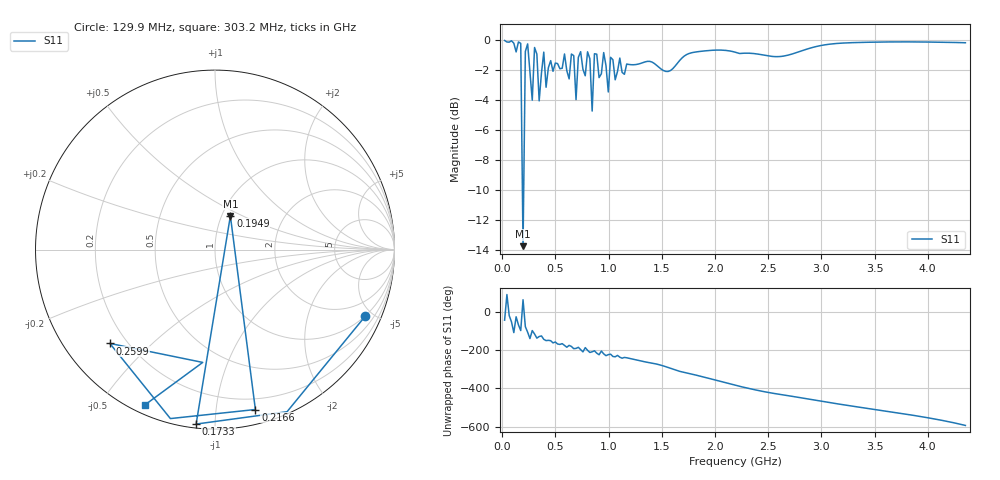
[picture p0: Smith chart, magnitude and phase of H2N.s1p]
!Keysight Technologies N9923A: A.08.19
!Date: Thursday, 16 January 2020 11:30:00
!TimeZone: (GMT-03:00) Brasilia!Model: N9923A
!Serial: MY51491501
!GPS Latitude:
!GPS Longitude:
!GPS TimeStamp: 0001-01-01 00:00:00Z
!GPS Seconds Since Last Read: 0
!CHECKSUM:1078980270
!Correction: S11(ON U)
!S1P File: Measurement: S11:
# Hz S DB R 50
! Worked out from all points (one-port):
!   201 points, 21.66 MHz to 4.353 GHz, reference 50 ohm
!   lowest |S11| = -13.7 dB at 194.9 MHz (marker M1), VSWR 1.52, Z = 55 + j21.5 ohm
!   |S11| at or under -10 dB: 189 MHz to 201.1 MHz (12.14 MHz wide, 6.23 % of centre)
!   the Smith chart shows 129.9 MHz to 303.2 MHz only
!   S11 on the Smith chart (normalised r, x): 129.9 MHz: 0.98, -4.52; 173.3 MHz: 0.02, -0.90; 194.9 MHz: 1.10, +0.43; 216.6 MHz: 0.11, -1.28; 259.9 MHz: 0.14, -0.37; 303.2 MHz: 0.04, -0.65
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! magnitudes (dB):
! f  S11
! 21.66 MHz  0.0
! 129.9 MHz  -0.8
! 173.3 MHz  -0.2
! 194.9 MHz  -13.7
! 216.6 MHz  -0.7
! 259.9 MHz  -2.1
! 281.5 MHz  -4.0
! 303.2 MHz  -0.5
! 346.5 MHz  -4.0
! 389.8 MHz  -0.8
! 411.5 MHz  -3.1
! 563.1 MHz  -1.9
! 671.4 MHz  -1.0
! 693 MHz  -4.0
! 714.7 MHz  -1.1
! 801.3 MHz  -0.8
! 844.6 MHz  -4.7
! 866.3 MHz  -0.9
! 952.9 MHz  -0.8
! 996.2 MHz  -3.4
! 1.018 GHz  -1.1
! 1.104 GHz  -1.2
! 1.646 GHz  -1.5
! 2.187 GHz  -0.8
! 2.729 GHz  -0.9
! 3.27 GHz  -0.2
! 3.812 GHz  -0.1
! 4.353 GHz  -0.2
